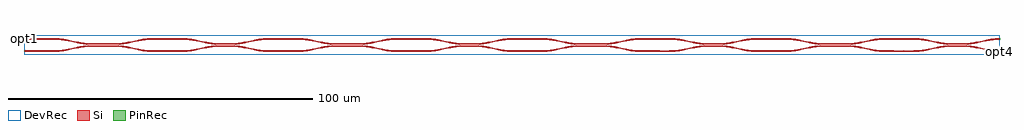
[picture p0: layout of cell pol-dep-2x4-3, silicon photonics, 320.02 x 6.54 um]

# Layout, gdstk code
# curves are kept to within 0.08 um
import gdstk
lib = gdstk.Library(unit=1e-6, precision=1e-09)
def R(c, l, rs):  # rectangles x0, y0, x1, y1
    for r in rs: c.add(gdstk.rectangle(r[:2], r[2:], *l))
def P(c, l, *ps):  # polygons
    for p in ps: c.add(gdstk.Polygon(p, *l))
Si = (1, 0)
PinRec = (1, 10)
DevRec = (68, 0)

dc_arm_up_8_1_1_1 = lib.new_cell('dc_arm_up_8$1$1$1')
R(dc_arm_up_8_1_1_1, Si, [(12,0.1,20,0.55)])
P(dc_arm_up_8_1_1_1, Si, [(20,0.1),(20,0.55),(21.481,0.613),(22.966,0.793),(29.344,2.033),(30.861,2.188),(32,2.225),(32,1.775),(30.519,1.712),(29.034,1.532),(22.656,0.292),(21.139,0.137)],
  [(12,0.1),(10.861,0.137),(9.344,0.292),(2.966,1.532),(1.481,1.712),(0,1.775),(0,2.225),(1.139,2.188),(2.656,2.033),(9.034,0.793),(10.519,0.613),(12,0.55)])

dc_arm_down_8_1_1_1 = lib.new_cell('dc_arm_down_8$1$1$1')
R(dc_arm_down_8_1_1_1, Si, [(12,-0.55,20,-0.1)])
P(dc_arm_down_8_1_1_1, Si, [(32,-2.225),(30.861,-2.188),(29.344,-2.033),(22.966,-0.793),(21.481,-0.613),(20,-0.55),(20,-0.1),(21.139,-0.137),(22.656,-0.292),(29.034,-1.532),(30.519,-1.712),(32,-1.775)],
  [(0,-2.225),(0,-1.775),(1.481,-1.712),(2.966,-1.532),(9.344,-0.292),(10.861,-0.137),(12,-0.1),(12,-0.55),(10.519,-0.613),(9.034,-0.793),(2.656,-2.033),(1.139,-2.188)])

dc_8_1_1_1 = lib.new_cell('dc_8$1$1$1')
dc_8_1_1_1.add(gdstk.Reference(dc_arm_up_8_1_1_1, (0,0)))
dc_8_1_1_1.add(gdstk.Reference(dc_arm_down_8_1_1_1, (0,0)))

layer_0_0_phase_sec_2_1_ = lib.new_cell('layer-0_0_phase_sec_2$1$1$1')
P(layer_0_0_phase_sec_2_1_, Si, [(0,-0.225),(0,0.225),(10,0.225),(10,-0.225)])

layer_0_0_phase_sec_3_1_ = lib.new_cell('layer-0_0_phase_sec_3$1$1$1')
P(layer_0_0_phase_sec_3_1_, Si, [(4.865,-0.267),(0,-0.225),(0,0.225),(10,0.225),(10,-0.225)])

dc_arm_up_4_1_1_1 = lib.new_cell('dc_arm_up_4$1$1$1')
R(dc_arm_up_4_1_1_1, Si, [(12,0.1,16,0.55)])
P(dc_arm_up_4_1_1_1, Si, [(16,0.1),(16,0.55),(17.481,0.613),(18.966,0.793),(25.344,2.033),(26.861,2.188),(28,2.225),(28,1.775),(26.519,1.712),(25.034,1.532),(18.656,0.292),(17.139,0.137)],
  [(12,0.1),(10.861,0.137),(9.344,0.292),(2.966,1.532),(1.481,1.712),(0,1.775),(0,2.225),(1.139,2.188),(2.656,2.033),(9.034,0.793),(10.519,0.613),(12,0.55)])

dc_arm_down_4_1_1_1 = lib.new_cell('dc_arm_down_4$1$1$1')
R(dc_arm_down_4_1_1_1, Si, [(12,-0.55,16,-0.1)])
P(dc_arm_down_4_1_1_1, Si, [(28,-2.225),(26.861,-2.188),(25.344,-2.033),(18.966,-0.793),(17.481,-0.613),(16,-0.55),(16,-0.1),(17.139,-0.137),(18.656,-0.292),(25.034,-1.532),(26.519,-1.712),(28,-1.775)],
  [(0,-2.225),(0,-1.775),(1.481,-1.712),(2.966,-1.532),(9.344,-0.292),(10.861,-0.137),(12,-0.1),(12,-0.55),(10.519,-0.613),(9.034,-0.793),(2.656,-2.033),(1.139,-2.188)])

dc_4_1_1_1 = lib.new_cell('dc_4$1$1$1')
dc_4_1_1_1.add(gdstk.Reference(dc_arm_up_4_1_1_1, (0,0)))
dc_4_1_1_1.add(gdstk.Reference(dc_arm_down_4_1_1_1, (0,0)))

layer_1_0_phase_sec_0_1_ = lib.new_cell('layer-1_0_phase_sec_0$1$1$1')
P(layer_1_0_phase_sec_0_1_, Si, [(8.039,-0.227),(0,-0.225),(0,0.225),(10,0.225),(10,-0.225)])

layer_2_0_phase_sec_0_1_ = lib.new_cell('layer-2_0_phase_sec_0$1$1$1')
P(layer_2_0_phase_sec_0_1_, Si, [(0,-0.225),(0,0.225),(10,0.225),(10,-0.225)])

layer_2_0_phase_sec_1_1_ = lib.new_cell('layer-2_0_phase_sec_1$1$1$1')
P(layer_2_0_phase_sec_1_1_, Si, [(3.225,-0.241),(0,-0.225),(0,0.225),(10,0.225),(10,-0.225)])

layer_2_0_phase_sec_2_1_ = lib.new_cell('layer-2_0_phase_sec_2$1$1$1')
P(layer_2_0_phase_sec_2_1_, Si, [(3.239,-0.255),(0,-0.225),(0,0.225),(10,0.225),(10,-0.225)])

layer_1_0_phase_sec_1_1_ = lib.new_cell('layer-1_0_phase_sec_1$1$1$1')
P(layer_1_0_phase_sec_1_1_, Si, [(4.837,-0.243),(0,-0.225),(0,0.225),(10,0.225),(10,-0.225)])

layer_0_0_phase_sec_1_1_ = lib.new_cell('layer-0_0_phase_sec_1$1$1$1')
P(layer_0_0_phase_sec_1_1_, Si, [(4.842,-0.231),(0,-0.225),(0,0.225),(10,0.225),(10,-0.225)])

layer_3_0_phase_sec_1_1_ = lib.new_cell('layer-3_0_phase_sec_1$1$1$1')
P(layer_3_0_phase_sec_1_1_, Si, [(6.475,-0.259),(0,-0.225),(0,0.225),(10,0.225),(10,-0.225)])

layer_2_0_phase_sec_3_1_ = lib.new_cell('layer-2_0_phase_sec_3$1$1$1')
P(layer_2_0_phase_sec_3_1_, Si, [(0,-0.225),(0,0.225),(10,0.225),(10,-0.225)])

layer_1_0_phase_sec_2_1_ = lib.new_cell('layer-1_0_phase_sec_2$1$1$1')
P(layer_1_0_phase_sec_2_1_, Si, [(4.859,-0.267),(0,-0.225),(0,0.225),(10,0.225),(10,-0.225)])

layer_3_0_phase_sec_2_1_ = lib.new_cell('layer-3_0_phase_sec_2$1$1$1')
P(layer_3_0_phase_sec_2_1_, Si, [(4.841,-0.243),(0,-0.225),(0,0.225),(10,0.225),(10,-0.225)])

layer_0_0_phase_sec_0_1_ = lib.new_cell('layer-0_0_phase_sec_0$1$1$1')
P(layer_0_0_phase_sec_0_1_, Si, [(1.614,-0.276),(0,-0.225),(0,0.225),(1.614,0.276),(10,0.225),(10,-0.225)])

layer_3_0_phase_sec_0_1_ = lib.new_cell('layer-3_0_phase_sec_0$1$1$1')
P(layer_3_0_phase_sec_0_1_, Si, [(0,-0.225),(0,0.225),(10,0.225),(10,-0.225)])

layer_1_0_phase_sec_3_1_ = lib.new_cell('layer-1_0_phase_sec_3$1$1$1')
P(layer_1_0_phase_sec_3_1_, Si, [(0,-0.225),(0,0.225),(10,0.225),(10,-0.225)])

layer_3_0_phase_sec_3_1_ = lib.new_cell('layer-3_0_phase_sec_3$1$1$1')
P(layer_3_0_phase_sec_3_1_, Si, [(0,-0.225),(0,0.225),(10,0.225),(10,-0.225)])

pol_dep_2x4_3 = lib.new_cell('pol-dep-2x4-3')
R(pol_dep_2x4_3, DevRec, [(0,-1,320,5.543)])
pol_dep_2x4_3.add(gdstk.FlexPath([(319.99,0.267),(320.01,0.267)], 0.45, ends="flush", simple_path=True, layer=1, datatype=10))  # PinRec
pol_dep_2x4_3.add(gdstk.FlexPath([(319.99,4.267),(320.01,4.267)], 0.45, ends="flush", simple_path=True, layer=1, datatype=10))  # PinRec
pol_dep_2x4_3.add(gdstk.FlexPath([(0.01,0.267),(-0.01,0.267)], 0.45, ends="flush", simple_path=True, layer=1, datatype=10))  # PinRec
pol_dep_2x4_3.add(gdstk.FlexPath([(0.01,4.267),(-0.01,4.267)], 0.45, ends="flush", simple_path=True, layer=1, datatype=10))  # PinRec
pol_dep_2x4_3.add(gdstk.Reference(dc_8_1_1_1, (10,2.267)))
pol_dep_2x4_3.add(gdstk.Reference(dc_8_1_1_1, (90,2.267)))
pol_dep_2x4_3.add(gdstk.Reference(dc_8_1_1_1, (170,2.267)))
pol_dep_2x4_3.add(gdstk.Reference(dc_8_1_1_1, (250,2.267)))
pol_dep_2x4_3.add(gdstk.Reference(layer_0_0_phase_sec_2_1_, (42,4.267)))
pol_dep_2x4_3.add(gdstk.Reference(layer_0_0_phase_sec_3_1_, (42,0.267)))
pol_dep_2x4_3.add(gdstk.Reference(dc_4_1_1_1, (52,2.267)))
pol_dep_2x4_3.add(gdstk.Reference(dc_4_1_1_1, (132,2.267)))
pol_dep_2x4_3.add(gdstk.Reference(dc_4_1_1_1, (212,2.267)))
pol_dep_2x4_3.add(gdstk.Reference(dc_4_1_1_1, (292,2.267)))
pol_dep_2x4_3.add(gdstk.Reference(layer_1_0_phase_sec_0_1_, (80,4.267)))
pol_dep_2x4_3.add(gdstk.Reference(layer_2_0_phase_sec_0_1_, (160,4.267)))
pol_dep_2x4_3.add(gdstk.Reference(layer_2_0_phase_sec_1_1_, (160,0.267)))
pol_dep_2x4_3.add(gdstk.Reference(layer_2_0_phase_sec_2_1_, (202,4.267)))
pol_dep_2x4_3.add(gdstk.Reference(layer_1_0_phase_sec_1_1_, (80,0.267)))
pol_dep_2x4_3.add(gdstk.Reference(layer_0_0_phase_sec_1_1_, (0,0.267)))
pol_dep_2x4_3.add(gdstk.Reference(layer_3_0_phase_sec_1_1_, (240,0.267)))
pol_dep_2x4_3.add(gdstk.Reference(layer_2_0_phase_sec_3_1_, (202,0.267)))
pol_dep_2x4_3.add(gdstk.Reference(layer_1_0_phase_sec_2_1_, (122,4.267)))
pol_dep_2x4_3.add(gdstk.Reference(layer_3_0_phase_sec_2_1_, (282,4.267)))
pol_dep_2x4_3.add(gdstk.Reference(layer_0_0_phase_sec_0_1_, (0,4.267)))
pol_dep_2x4_3.add(gdstk.Reference(layer_3_0_phase_sec_0_1_, (240,4.267)))
pol_dep_2x4_3.add(gdstk.Reference(layer_1_0_phase_sec_3_1_, (122,0.267)))
pol_dep_2x4_3.add(gdstk.Reference(layer_3_0_phase_sec_3_1_, (282,0.267)))
pol_dep_2x4_3.add(gdstk.Label('opt4', (320,0.267), layer=1, texttype=10))
pol_dep_2x4_3.add(gdstk.Label('opt3', (320,4.267), layer=1, texttype=10))
pol_dep_2x4_3.add(gdstk.Label('opt1', (0,4.267), layer=1, texttype=10))
pol_dep_2x4_3.add(gdstk.Label('opt2', (0,0.267), layer=1, texttype=10))

lib.write_gds('pol-dep-2x4-3.gds')
